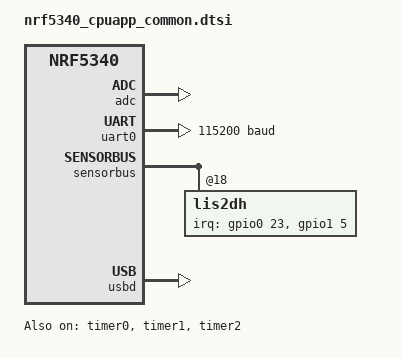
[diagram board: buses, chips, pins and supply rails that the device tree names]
/*
 * Copyright (c) 2019-2020 Nordic Semiconductor ASA
 * Copyright (c) 2024 Sensoan Oy
 *
 * SPDX-License-Identifier: Apache-2.0
 */
#include "sgw2_nrf5340_common.dtsi"
#include "sgw2_common.dtsi"
#include "nrf5340_cpuapp_common-pinctrl.dtsi"

/ {

	chosen {
		zephyr,console = &uart0;
		zephyr,shell-uart = &uart0;
		zephyr,uart-mcumgr = &uart0;
		zephyr,bt-mon-uart = &uart0;
		zephyr,bt-c2h-uart = &uart0;
		zephyr,bt-hci-ipc = &ipc0;
		zephyr,ieee802154 = &ieee802154;
	};

	gpio_fwd: nrf-gpio-forwarder {
		compatible = "nordic,nrf-gpio-forwarder";
		status = "okay";
		uart {
			gpios = <&edge_connector 26 0>, <&edge_connector 29 0>;
		};
	};

	/* These aliases are provided for compatibility with samples */
	aliases {
		watchdog0 = &wdt0;
		spi-flash0 = &w25q80dv;
		accel0 = &lis2dh;
	};
};

&vregmain {
	regulator-initial-mode = <NRF5X_REG_MODE_DCDC>;
};

&vregradio {
	regulator-initial-mode = <NRF5X_REG_MODE_DCDC>;
};

&lfxo {
	load-capacitors = "external";
};

&hfxo {
	load-capacitors = "external";
};

&adc {
	status = "okay";
};

&gpiote {
	status = "okay";
};

&gpio0 {
	status = "okay";
};

&gpio1 {
	status = "okay";
};

&uart0 {
	status = "okay";
	current-speed = <115200>;
	pinctrl-0 = <&uart0_default>;
	pinctrl-1 = <&uart0_sleep>;
	pinctrl-names = "default", "sleep";
};

&timer0 {
	status = "okay";
};

&timer1 {
	status = "okay";
};

&timer2 {
	status = "okay";
};

&sensorbus {
	lis2dh: lis2dh@18 {
		irq-gpios = <&gpio0 23 GPIO_ACTIVE_HIGH>,
			<&gpio1 5 GPIO_ACTIVE_HIGH>;
	};
};

&flash_spi {
	cs-gpios = <&gpio0 25 GPIO_ACTIVE_LOW>;
};

zephyr_udc0: &usbd {
	compatible = "nordic,nrf-usbd";
	status = "okay";
};

/* Include default memory partition configuration file */
#include <common/nordic/nrf5340_cpuapp_partition.dtsi>
